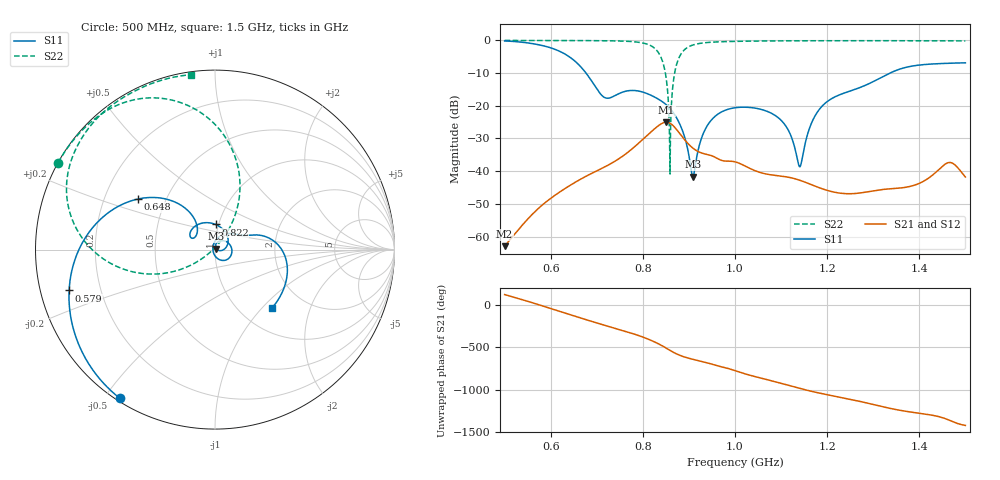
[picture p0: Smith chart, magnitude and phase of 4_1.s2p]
! TOUCHSTONE file generated by CST MICROWAVE STUDIO
! Date and time: Fri Oct  2 17:13:48 2020
! Project name: Scenario_1_Free_Space_out_of_line.cst
! Parameters = {Lambda=346.42; Step_1=17.321; dy1=295.617; dx1=173; L_HA=400; MT=2.54; Rad_Dielectric=30; Rad_Lower=7.3; Rad_Upper=30; a_HA=580; a_WG=246; b_HA=500; b_WG=121; c_HA=0; c_WG=187; d_feed=85; h_feed=15; h_lower=18; h_upper=40}
! Header version: 2018
! Port assignment regex: !\s*Touchstone port\s*([0-9]+)\s*=\s*(CST MWS port|CST DS port)\s*([0-9]+|Zmin|Zmax)\s*\(\"(.*)\"\)(\s*mode\s*([0-9]+))?.*
! Touchstone port assignment:
! Touchstone port 1 = CST MWS port 1 ("")
! Touchstone port 2 = CST MWS port 2 ("")
# GHz S DB R 50
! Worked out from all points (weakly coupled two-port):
!   1003 points, 500 MHz to 1.5 GHz, reference 50 ohm
!   highest |S21| = -25.01 dB at 851 MHz (marker M1); lowest = -62.9 dB at 500 MHz (marker M2)
!   lowest |S11| = -41.7 dB at 909 MHz (marker M3), VSWR 1.02, Z = 50.6 + j0.526 ohm
!   |S11| at or under -10 dB: 676.7 MHz to 1.336 GHz (659.3 MHz wide, 65.5 % of centre)
!   |S22| runs from -40.9 to 0.0 dB; largest |S21 - S12| = 8.8e-05
!   S11 on the Smith chart (normalised r, x): 500 MHz: 0.01, -0.55; 579 MHz: 0.09, -0.14; 648 MHz: 0.35, +0.27; 822 MHz: 0.97, +0.28; 1.5 GHz: 1.40, -1.14
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0.5  -0.15 -122.7  -62.94 124.4  -62.94 124.4  -0.01 151.1
0.579  -1.47 -164.3  -50.69 -4.4  -50.69 -4.4  -0.01 145.6
0.648  -5.79 146.7  -43.83 -123.5  -43.83 -123.5  -0.03 140.1
0.667  -8.34 133.2  -42.29 -156.0  -42.29 -156.1  -0.04 138.3
0.718  -17.53 139.9  -38.64 119.8  -38.64 119.8  -0.09 132.5
0.822  -17.07 88.7  -27.45 -67.2  -27.45 -67.2  -2.01 98.4
0.834  -17.99 73.7  -26.07 -98.3  -26.07 -98.3  -3.76 86.3
0.851  -19.70 49.2  -25.01 -149.9  -25.01 -149.9  -11.92 61.3
0.855  -20.23 42.9  -25.09 -162.9  -25.09 -162.9  -17.91 55.6
0.86  -20.99 34.8  -25.41 -179.0  -25.41 -179.0  -28.21 -148.6
0.867  -22.29 23.4  -26.24 159.7  -26.24 159.7  -11.69 -152.1
0.875  -24.14 10.8  -27.57 138.3  -27.57 138.3  -6.55 -164.6
0.909  -41.66 39.0  -32.99 78.2  -32.99 78.2  -1.38 163.4
0.942  -25.60 63.3  -34.96 33.5  -34.95 33.5  -0.61 150.8
1  -20.60 2.1  -37.15 -55.2  -37.14 -55.3  -0.29 140.2
1.095  -23.77 -63.1  -41.42 162.2  -41.42 162.2  -0.13 130.2
1.14  -38.62 -169.8  -42.75 95.4  -42.75 95.4  -0.10 126.3
1.167  -24.96 83.2  -44.20 58.9  -44.20 58.9  -0.10 124.2
1.207  -18.03 46.2  -46.15 12.6  -46.15 12.6  -0.09 121.1
1.334  -10.14 11.5  -45.43 -138.3  -45.43 -138.3  -0.08 111.4
1.464  -6.98 -36.5  -37.36 80.7  -37.42 80.7  -0.12 101.0
1.5  -6.85 -45.3  -41.79 16.7  -41.78 17.0  -0.14 97.9
